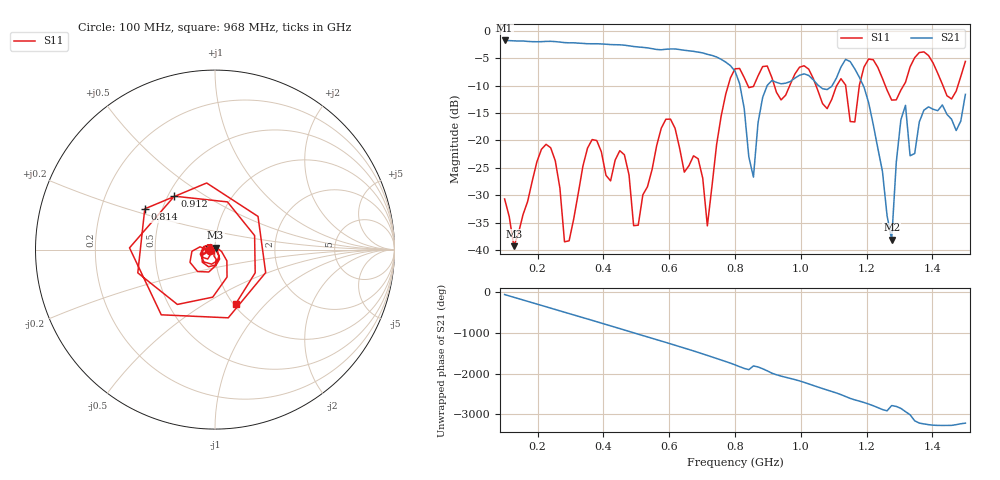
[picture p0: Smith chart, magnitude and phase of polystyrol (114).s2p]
! NanoVNA-App
! Date: 2025-09-26 09:42:46
! Start: 100MHz Stop: 1,5GHz Points: 101
! S-Parameter data: F S11 S21 S12 S22
# Hz S RI R 50
!  Frequency  S11_Real  S11_Imag  S21_Real  S21_Imag  S12_Real  S12_Imag  S22_Real  S22_Imag
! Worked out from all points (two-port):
!   101 points, 100 MHz to 1.5 GHz, reference 50 ohm
!   highest |S21| = -1.79 dB at 100 MHz (marker M1); lowest = -38.1 dB at 1.276 GHz (marker M2)
!   |S21| within 3 dB of the highest: start of sweep to 743.5 MHz
!   lowest |S11| = -39.2 dB at 128 MHz (marker M3), VSWR 1.02, Z = 50.3 + j1.06 ohm
!   |S11| at or under -10 dB: start of sweep to 779.4 MHz; 1.046 GHz to 1.109 GHz (63.17 MHz wide, 5.86 % of centre); 1.257 GHz to 1.312 GHz (55.64 MHz wide, 4.33 % of centre)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
!   S12 and S22 are empty: the file has one direction only
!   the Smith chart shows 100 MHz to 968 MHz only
!   S11 on the Smith chart (normalised r, x): 100 MHz: 0.94, -0.01; 814 MHz: 0.40, +0.23; 912 MHz: 0.54, +0.37; 968 MHz: 1.02, -0.69
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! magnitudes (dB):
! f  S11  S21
! 100 MHz  -30.7  -1.8
! 128 MHz  -39.2  -1.9
! 212 MHz  -21.6  -2.0
! 254 MHz  -23.7  -2.0
! 282 MHz  -38.5  -2.2
! 338 MHz  -24.6  -2.3
! 464 MHz  -22.6  -2.6
! 506 MHz  -35.4  -3.0
! 576 MHz  -17.8  -3.5
! 688 MHz  -23.3  -3.9
! 716 MHz  -35.6  -4.3
! 800 MHz  -7.0  -7.4
! 814 MHz  -6.9  -9.6
! 856 MHz  -10.2  -26.7
! 912 MHz  -8.5  -9.1
! 968 MHz  -9.8  -9.3
! 1.038 GHz  -8.7  -9.0
! 1.178 GHz  -9.9  -8.5
! 1.276 GHz  -12.6  -38.1
! 1.318 GHz  -9.4  -13.6
! 1.332 GHz  -6.6  -22.8
! 1.5 GHz  -5.6  -11.6
